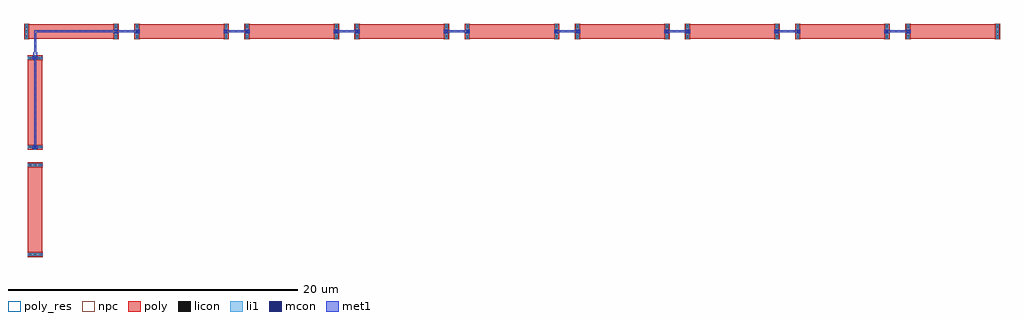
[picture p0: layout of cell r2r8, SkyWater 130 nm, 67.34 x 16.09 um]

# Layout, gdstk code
import gdstk
lib = gdstk.Library(unit=1e-6, precision=1e-09)
def R(c, l, rs):  # rectangles x0, y0, x1, y1
    for r in rs: c.add(gdstk.rectangle(r[:2], r[2:], *l))
def A(c, l, x, y, w, h, nx, ny, dx, dy):  # array of equal rectangles
    R(c, l, [(x+i*dx, y+j*dy, x+i*dx+w, y+j*dy+h) for i in range(nx) for j in range(ny)])
poly_res = (66, 13)
poly = (66, 20)
licon = (66, 44)
li1 = (67, 20)
mcon = (67, 44)
met1 = (68, 20)
npc = (95, 20)

r2r8 = lib.new_cell('r2r8')
A(r2r8, poly_res, 2, 2, 6, 1, 9, 1, 7.6, 0)
R(r2r8, poly_res, [(2,-12.8,3,-6.8), (2,-5.4,3,0.6), (2,-5.4,3,0.6)])
A(r2r8, poly, 1.75, 2, 6.5, 1, 9, 1, 7.6, 0)
R(r2r8, poly, [(2,-13.05,3,-6.55), (2,-5.65,3,0.85), (2,-5.65,3,0.85)])
A(r2r8, licon, 2.075, -12.97, 0.17, 0.17, 3, 2, 0.34, 6.17)
A(r2r8, licon, 1.83, 2.075, 0.17, 0.17, 1, 3, 0, 0.34)
A(r2r8, licon, 8, 2.075, 0.17, 0.17, 1, 3, 0, 0.34)
A(r2r8, licon, 9.43, 2.075, 0.17, 0.17, 1, 3, 0, 0.34)
A(r2r8, licon, 15.6, 2.075, 0.17, 0.17, 1, 3, 0, 0.34)
A(r2r8, licon, 17.03, 2.075, 0.17, 0.17, 1, 3, 0, 0.34)
A(r2r8, licon, 23.2, 2.075, 0.17, 0.17, 1, 3, 0, 0.34)
A(r2r8, licon, 24.63, 2.075, 0.17, 0.17, 1, 3, 0, 0.34)
A(r2r8, licon, 30.8, 2.075, 0.17, 0.17, 1, 3, 0, 0.34)
A(r2r8, licon, 32.23, 2.075, 0.17, 0.17, 1, 3, 0, 0.34)
A(r2r8, licon, 38.4, 2.075, 0.17, 0.17, 1, 3, 0, 0.34)
A(r2r8, licon, 39.83, 2.075, 0.17, 0.17, 1, 3, 0, 0.34)
A(r2r8, licon, 46, 2.075, 0.17, 0.17, 1, 3, 0, 0.34)
A(r2r8, licon, 47.43, 2.075, 0.17, 0.17, 1, 3, 0, 0.34)
A(r2r8, licon, 53.6, 2.075, 0.17, 0.17, 1, 3, 0, 0.34)
A(r2r8, licon, 55.03, 2.075, 0.17, 0.17, 1, 3, 0, 0.34)
A(r2r8, licon, 61.2, 2.075, 0.17, 0.17, 1, 3, 0, 0.34)
A(r2r8, licon, 62.63, 2.075, 0.17, 0.17, 1, 3, 0, 0.34)
A(r2r8, licon, 68.8, 2.075, 0.17, 0.17, 1, 3, 0, 0.34)
R(r2r8, licon, [(2.075,-5.57,2.245,-5.4), (2.075,-5.57,2.245,-5.4), (2.415,-5.57,2.585,-5.4), (2.415,-5.57,2.585,-5.4), (2.755,-5.57,2.925,-5.4), (2.755,-5.57,2.925,-5.4), (2.075,0.6,2.245,0.77), (2.075,0.6,2.245,0.77), (2.415,0.6,2.585,0.77), (2.415,0.6,2.585,0.77), (2.755,0.6,2.925,0.77), (2.755,0.6,2.925,0.77)])
R(r2r8, li1, [(1.995,-12.97,3.005,-12.8), (1.995,-6.8,3.005,-6.63), (2.415,-5.65,2.585,-5.32), (1.995,-5.57,3.005,-5.4), (1.995,-5.57,3.005,-5.4), (2.415,0.52,2.585,0.85), (1.995,0.6,3.005,0.77), (1.995,0.6,3.005,0.77), (1.83,1.995,2,3.005), (8,1.995,8.17,3.005), (9.43,1.995,9.6,3.005), (15.6,1.995,15.77,3.005), (17.03,1.995,17.2,3.005), (23.2,1.995,23.37,3.005), (24.63,1.995,24.8,3.005), (30.8,1.995,30.97,3.005), (32.23,1.995,32.4,3.005), (38.4,1.995,38.57,3.005), (39.83,1.995,40,3.005), (46,1.995,46.17,3.005), (47.43,1.995,47.6,3.005), (53.6,1.995,53.77,3.005), (55.03,1.995,55.2,3.005), (61.2,1.995,61.37,3.005), (62.63,1.995,62.8,3.005), (68.8,1.995,68.97,3.005), (8,2.335,8.17,2.665), (8,2.335,8.17,2.665), (9.43,2.335,9.6,2.665), (15.6,2.335,15.77,2.665), (17.03,2.335,17.2,2.665), (23.2,2.335,23.37,2.665), (24.63,2.335,24.8,2.665), (30.8,2.335,30.97,2.665), (32.23,2.335,32.4,2.665), (38.4,2.335,38.57,2.665), (39.83,2.335,40,2.665), (46,2.335,46.17,2.665), (47.43,2.335,47.6,2.665), (53.6,2.335,53.77,2.665), (55.03,2.335,55.2,2.665), (61.2,2.335,61.37,2.665), (62.63,2.335,62.8,2.665)])
R(r2r8, mcon, [(2.415,-5.57,2.585,-5.4), (2.415,0.6,2.585,0.77), (8,2.415,8.17,2.585), (8,2.415,8.17,2.585), (9.43,2.415,9.6,2.585), (15.6,2.415,15.77,2.585), (17.03,2.415,17.2,2.585), (23.2,2.415,23.37,2.585), (24.63,2.415,24.8,2.585), (30.8,2.415,30.97,2.585), (32.23,2.415,32.4,2.585), (38.4,2.415,38.57,2.585), (39.83,2.415,40,2.585), (46,2.415,46.17,2.585), (47.43,2.415,47.6,2.585), (53.6,2.415,53.77,2.585), (55.03,2.415,55.2,2.585), (61.2,2.415,61.37,2.585), (62.63,2.415,62.8,2.585)])
A(r2r8, met1, 8.085, 2.43, 1.43, 0.14, 8, 1, 7.6, 0)
R(r2r8, met1, [(2.315,-5.6,2.685,-5.37), (2.43,-5.485,2.57,2.57), (2.315,0.57,2.685,0.8), (2.43,0.685,2.57,0.98), (2.36,0.91,2.64,1.05), (7.9,2.385,8.27,2.615), (7.9,2.385,8.27,2.615), (9.33,2.385,9.7,2.615), (15.5,2.385,15.87,2.615), (16.93,2.385,17.3,2.615), (23.1,2.385,23.47,2.615), (24.53,2.385,24.9,2.615), (30.7,2.385,31.07,2.615), (32.13,2.385,32.5,2.615), (38.3,2.385,38.67,2.615), (39.73,2.385,40.1,2.615), (45.9,2.385,46.27,2.615), (47.33,2.385,47.7,2.615), (53.5,2.385,53.87,2.615), (54.93,2.385,55.3,2.615), (61.1,2.385,61.47,2.615), (62.53,2.385,62.9,2.615), (2.43,2.43,8.085,2.57)])
R(r2r8, npc, [(1.975,-13.07,3.025,-12.7), (1.975,-6.9,3.025,-6.53), (1.975,-5.67,3.025,-5.3), (1.975,-5.67,3.025,-5.3), (1.975,0.5,3.025,0.87), (1.975,0.5,3.025,0.87), (1.73,1.975,2.1,3.025), (7.9,1.975,8.27,3.025), (9.33,1.975,9.7,3.025), (15.5,1.975,15.87,3.025), (16.93,1.975,17.3,3.025), (23.1,1.975,23.47,3.025), (24.53,1.975,24.9,3.025), (30.7,1.975,31.07,3.025), (32.13,1.975,32.5,3.025), (38.3,1.975,38.67,3.025), (39.73,1.975,40.1,3.025), (45.9,1.975,46.27,3.025), (47.33,1.975,47.7,3.025), (53.5,1.975,53.87,3.025), (54.93,1.975,55.3,3.025), (61.1,1.975,61.47,3.025), (62.53,1.975,62.9,3.025), (68.7,1.975,69.07,3.025)])

lib.write_gds('r2r8.gds')
